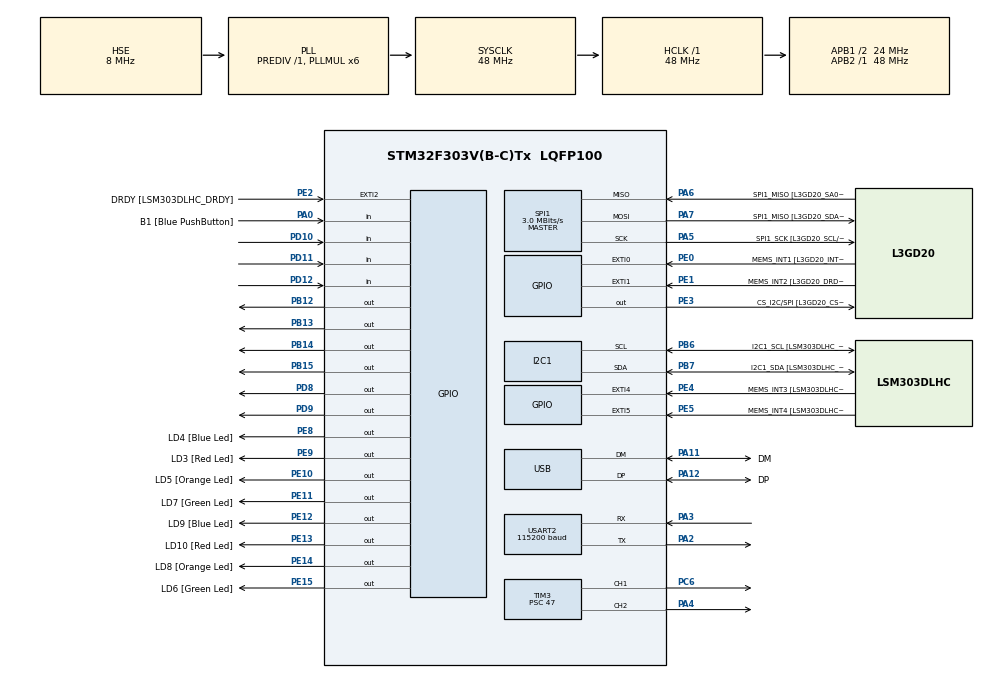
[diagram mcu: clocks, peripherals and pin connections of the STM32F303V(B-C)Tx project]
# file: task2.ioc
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I2C1.Timing=0x00201D2B
I2C1.Timing-I2C=0x2000090E
Mcu.Family=STM32F3
Mcu.Name=STM32F303V(B-C)Tx
Mcu.Package=LQFP100
NVIC.PriorityGroup=NVIC_PRIORITYGROUP_0
NVIC.TIM2_IRQn=true\:0\:0\:false\:false\:true\:true\:true\:true
NVIC.TIM3_IRQn=true\:0\:0\:false\:false\:true\:true\:true\:true
NVIC.USB_LP_CAN_RX0_IRQn=true\:0\:0\:false\:false\:true\:false\:true\:true
PA0.GPIO_Label=B1 [Blue PushButton]
PA0.Signal=GPIO_Input
PA11.GPIO_Label=DM
PA11.Mode=Device
PA11.Signal=USB_DM
PA12.GPIO_Label=DP
PA12.Mode=Device
PA12.Signal=USB_DP
PA13.GPIO_Label=SWDIO
PA13.Mode=Serial_Wire
PA13.Signal=SYS_JTMS-SWDIO
PA14.GPIO_Label=SWCLK
PA14.Mode=Serial_Wire
PA14.Signal=SYS_JTCK-SWCLK
PA2.Mode=Asynchronous
PA2.Signal=USART2_TX
PA3.Mode=Asynchronous
PA3.Signal=USART2_RX
PA4.Signal=S_TIM3_CH2
PA5.GPIO_Label=SPI1_SCK [L3GD20_SCL/SPC]
PA5.Mode=Full_Duplex_Master
PA5.Signal=SPI1_SCK
PA6.GPIO_Label=SPI1_MISO [L3GD20_SA0/SDO]
PA6.Mode=Full_Duplex_Master
PA6.Signal=SPI1_MISO
PA7.GPIO_Label=SPI1_MISO [L3GD20_SDA/SDI/SDO]
PA7.Mode=Full_Duplex_Master
PA7.Signal=SPI1_MOSI
PB12.Signal=GPIO_Output
PB13.Signal=GPIO_Output
PB14.Signal=GPIO_Output
PB15.Signal=GPIO_Output
PB3.GPIO_Label=SWO
PB3.Signal=SYS_JTDO-TRACESWO
PB6.GPIO_Label=I2C1_SCL [LSM303DLHC_SCL]
PB6.GPIO_Pu=GPIO_PULLUP
PB6.Mode=I2C
PB6.Signal=I2C1_SCL
PB7.GPIO_Label=I2C1_SDA [LSM303DLHC_SDA]
PB7.GPIO_Pu=GPIO_PULLUP
PB7.Mode=I2C
PB7.Signal=I2C1_SDA
PC14-OSC32_IN.GPIO_Label=OSC32_IN
PC14-OSC32_IN.Signal=RCC_OSC32_IN
PC15-OSC32_OUT.GPIO_Label=OSC32_OUT
PC15-OSC32_OUT.Signal=RCC_OSC32_OUT
PC6.Signal=S_TIM3_CH1
PD10.Signal=GPIO_Input
PD11.Signal=GPIO_Input
PD12.Signal=GPIO_Input
PD8.Signal=GPIO_Output
PD9.Signal=GPIO_Output
PE0.GPIO_Label=MEMS_INT1 [L3GD20_INT1]
PE0.GPIO_ModeDefaultEXTI=GPIO_MODE_EVT_RISING
PE0.Signal=GPXTI0
PE1.GPIO_Label=MEMS_INT2 [L3GD20_DRDY/INT2]
PE1.GPIO_ModeDefaultEXTI=GPIO_MODE_EVT_RISING
PE1.Signal=GPXTI1
PE10.GPIO_Label=LD5 [Orange Led]
PE10.Signal=GPIO_Output
PE11.GPIO_Label=LD7 [Green Led]
PE11.Signal=GPIO_Output
PE12.GPIO_Label=LD9 [Blue Led]
PE12.Signal=GPIO_Output
PE13.GPIO_Label=LD10 [Red Led]
PE13.Signal=GPIO_Output
PE14.GPIO_Label=LD8 [Orange Led]
PE14.Signal=GPIO_Output
PE15.GPIO_Label=LD6 [Green Led]
PE15.Signal=GPIO_Output
PE2.GPIO_Label=DRDY [LSM303DLHC_DRDY]
PE2.GPIO_ModeDefaultEXTI=GPIO_MODE_EVT_RISING
PE2.Signal=GPXTI2
PE3.GPIO_Label=CS_I2C/SPI [L3GD20_CS_I2C/SPI]
PE3.Signal=GPIO_Output
PE4.GPIO_Label=MEMS_INT3 [LSM303DLHC_INT1]
PE4.GPIO_ModeDefaultEXTI=GPIO_MODE_EVT_RISING
PE4.Signal=GPXTI4
PE5.GPIO_Label=MEMS_INT4 [LSM303DLHC_INT2]
PE5.GPIO_ModeDefaultEXTI=GPIO_MODE_EVT_RISING
PE5.Signal=GPXTI5
PE8.GPIO_Label=LD4 [Blue Led]
PE8.Signal=GPIO_Output
PE9.GPIO_Label=LD3 [Red Led]
PE9.Signal=GPIO_Output
PF0-OSC_IN.GPIO_Label=OSC_IN
PF0-OSC_IN.Mode=HSE-External-Clock-Source
PF0-OSC_IN.Signal=RCC_OSC_IN
PF1-OSC_OUT.GPIO_Label=OSC_OUT
PF1-OSC_OUT.Signal=RCC_OSC_OUT
ProjectManager.HeapSize=0x200
ProjectManager.StackSize=0x400
ProjectManager.TargetToolchain=CMake
RCC.AHBFreq_Value=48000000
RCC.APB1CLKDivider=RCC_HCLK_DIV2
RCC.APB1Freq_Value=24000000
RCC.APB1TimFreq_Value=48000000
RCC.APB2Freq_Value=48000000
RCC.APB2TimFreq_Value=48000000
RCC.CortexFreq_Value=48000000
RCC.HCLKFreq_Value=48000000
RCC.HSE_VALUE=8000000
RCC.HSI_VALUE=8000000
RCC.LSE_VALUE=32768
RCC.PLLMUL=RCC_PLL_MUL6
RCC.SYSCLKFreq_VALUE=48000000
RCC.SYSCLKSourceVirtual=RCC_SYSCLKSOURCE_PLLCLK
RCC.USBFreq_Value=48000000
SH.S_TIM3_CH1.0=TIM3_CH1,PWM Generation1 CH1
SH.S_TIM3_CH2.0=TIM3_CH2,PWM Generation2 CH2
SPI1.BaudRatePrescaler=SPI_BAUDRATEPRESCALER_16
SPI1.BaudRatePrescaler-Full_Duplex_Master=SPI_BAUDRATEPRESCALER_2
SPI1.CLKPhase=SPI_PHASE_2EDGE
SPI1.CLKPolarity=SPI_POLARITY_HIGH
SPI1.CalculateBaudRate=3.0 MBits/s
SPI1.CalculateBaudRate-Full_Duplex_Master=24.0 MBits/s
SPI1.DataSize=SPI_DATASIZE_8BIT
SPI1.Direction=SPI_DIRECTION_2LINES
SPI1.Mode=SPI_MODE_MASTER
SPI1.Mode-Full_Duplex_Master=SPI_MODE_MASTER
SPI1.VirtualType=VM_MASTER
TIM2.Period=4999
TIM2.Prescaler=47
TIM3.Channel-PWM\ Generation1\ CH1=TIM_CHANNEL_1
TIM3.Channel-PWM\ Generation2\ CH2=TIM_CHANNEL_2
TIM3.Period=999
TIM3.Prescaler=47
USART2.BaudRate=115200
USART2.VirtualMode-Asynchronous=VM_ASYNC
USB_DEVICE.CLASS_NAME_FS=CDC
USB_DEVICE.VirtualMode=Cdc
USB_DEVICE.VirtualModeFS=Cdc_FS
VP_TIM2_VS_ClockSourceINT.Mode=Internal
VP_TIM3_VS_ClockSourceINT.Mode=Internal
VP_USB_DEVICE_VS_USB_DEVICE_CDC_FS.Mode=CDC_FS
board=STM32F3DISCOVERY

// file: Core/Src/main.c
/* USER CODE BEGIN Header */
/**
  ******************************************************************************
  * @file           : main.c
  * @brief          : Lab 11 Task 2 - PID Controller for Self-Balancing Robot
  ******************************************************************************
  * TIM2 = 200Hz control loop ISR (complementary filter + PID)
  * TIM3 = PWM generation for motors (CH1=left on PC6, CH2=right on PA4)
  * Motor direction pins:
  *   Left  motor: PB12 (IN1), PB13 (IN2)
  *   Right motor: PB14 (IN1), PB15 (IN2)
  ******************************************************************************
  */
/* USER CODE END Header */
#include "main.h"
#include "usb_device.h"

/* USER CODE BEGIN Includes */
#include <math.h>
#include <stdio.h>
#include <string.h>
#include <stdarg.h>
/* USER CODE END Includes */

/* USER CODE BEGIN PD */

// Sampling Time
#define DT 0.005f

// PID Controller Structure
typedef struct {
    float kp;               // Proportional gain
    float ki;               // Integral gain
    float kd;               // Derivative gain
    float setpoint;         // Target angle (degrees)
    float integral;         // Accumulated integral error
    float prev_error;       // Previous error for derivative
    float output_max;       // Maximum output limit
    float output_min;       // Minimum output limit
    float integral_max;     // Anti-windup limit (positive)
    float integral_min;     // Anti-windup limit (negative)
} PIDController;

// Sensor Fusion Structure
typedef struct {
    float gyro_rate_dps;    // Gyro angular velocity (deg/s)
    float acc_angle_deg;    // Accelerometer-derived angle (deg)
    float tilt_angle;       // Fused tilt angle estimate (deg)
} AngleEstimate;

// PID Gains
#define KP  30.0f
#define KI  0.00f
#define KD 0.0f

// Setpoint
#define SETPOINT -2.1f

// Output Limits
#define PID_OUT_MAX  999.0f
#define PID_OUT_MIN -999.0f

// Integral Anti-Windup Limit
#define INTEGRAL_MAX  200.0f
#define INTEGRAL_MIN -200.0f

// Complementary Filter Weights
#define COMP_GYRO_WEIGHT  0.98f
#define COMP_ACC_WEIGHT   0.02f

// Sensor Configuration
#define GYRO_SCALE_DPS      0.00875f
#define GYRO_OUT_Y_L_REG    0x2A      // Y-axis output low byte
#define GYRO_OUT_Y_H_REG    0x2B      // Y-axis output high byte
#define ACC_ADDRESS_WRITE   0x32      // I2C write address
#define ACC_ADDRESS_READ    0x33      // I2C read address
#define ACC_OUT_X_PAGE      0x28      // Output X register
#define ACC_READ_AUTOINC    0x80      // Auto-increment bit for I2C

/* USER CODE END PD */

I2C_HandleTypeDef hi2c1;

SPI_HandleTypeDef hspi1;

TIM_HandleTypeDef htim2;
TIM_HandleTypeDef htim3;

UART_HandleTypeDef huart2;

/* USER CODE BEGIN PV */

// Angle Estimation Variables
volatile float shared_angle   = 0.0f;   // Bridge between ISR and main
volatile float shared_pid_out = 0.0f;   // PID output for display
volatile uint8_t display_flag = 0;

// Sensor measurements for display/debug
volatile float gyro_rate = 0.0f;
volatile float acc_angle = 0.0f;

/* USER CODE END PV */

void SystemClock_Config(void);
static void MX_GPIO_Init(void);
static void MX_I2C1_Init(void);
static void MX_SPI1_Init(void);
static void MX_TIM3_Init(void);
static void MX_TIM2_Init(void);
static void MX_USART2_UART_Init(void);

/* USER CODE BEGIN 0 */

uint8_t I3G_ReadReg(uint8_t reg_addr) {
    uint8_t tx_data = reg_addr | 0x80;  // Bit 7 = 1 for READ
    uint8_t rx_data;

    HAL_GPIO_WritePin(GPIOE, GPIO_PIN_3, GPIO_PIN_RESET);
    HAL_SPI_Transmit(&hspi1, &tx_data, 1, HAL_MAX_DELAY);
    HAL_SPI_Receive(&hspi1, &rx_data, 1, HAL_MAX_DELAY);
    HAL_GPIO_WritePin(GPIOE, GPIO_PIN_3, GPIO_PIN_SET);

    return rx_data;
}

// Helper Functions for Sensor Data Acquisition

// Read gyroscope Y-axis
float Read_Gyro_Y(void) {
    uint8_t y_low  = I3G_ReadReg(GYRO_OUT_Y_L_REG);
    uint8_t y_high = I3G_ReadReg(GYRO_OUT_Y_H_REG);

    int16_t raw_gyro_y = (int16_t)((y_high << 8) | y_low);
    return (float)raw_gyro_y * GYRO_SCALE_DPS;  // Convert to deg/s
}

// Read accelerometer pitch angle
float Read_Acc_Pitch(void) {
    uint8_t acc_reg = ACC_OUT_X_PAGE | ACC_READ_AUTOINC;
    uint8_t acc_buf[6] = {0};

    HAL_I2C_Master_Transmit(&hi2c1, ACC_ADDRESS_WRITE, &acc_reg, 1, 10);
    HAL_I2C_Master_Receive(&hi2c1, ACC_ADDRESS_READ, acc_buf, 6, 10);

    int16_t acc_raw_x = (int16_t)((acc_buf[1] << 8) | acc_buf[0]);
    int16_t acc_raw_z = (int16_t)((acc_buf[5] << 8) | acc_buf[4]);

    // Pitch angle
    return atan2f((float)acc_raw_x, (float)acc_raw_z) * (180.0f / 3.14159f);
}

// Initialize PID controller with default
void PID_Init(PIDController *pid) {
    pid->kp = KP;
    pid->ki = KI;
    pid->kd = KD;
    pid->setpoint = SETPOINT;
    pid->integral = 0.0f;
    pid->prev_error = 0.0f;
    pid->output_max = PID_OUT_MAX;
    pid->output_min = PID_OUT_MIN;
    pid->integral_max = INTEGRAL_MAX;
    pid->integral_min = INTEGRAL_MIN;
}

// Compute PID output given measured error
float PID_Update(PIDController *pid, float error) {
    // P
    float p_term = pid->kp * error;

    // I
    pid->integral += pid->ki * error * DT;
    if (pid->integral > pid->integral_max) pid->integral = pid->integral_max;
    if (pid->integral < pid->integral_min) pid->integral = pid->integral_min;

    // D
    float derivative = (error - pid->prev_error) / DT;
    float d_term = pid->kd * derivative;
    pid->prev_error = error;

    // Total PID
    float output = p_term + pid->integral + d_term;

    // final output
    if (output > pid->output_max) output = pid->output_max;
    if (output < pid->output_min) output = pid->output_min;

    return output;
}

// Complementary Filter for Angle Estimation
float Complementary_Filter(float prev_angle, float gyro_rate_dps, float acc_angle_deg) {
    float gyro_contribution = (prev_angle + gyro_rate_dps * DT) * COMP_GYRO_WEIGHT;
    float acc_contribution = acc_angle_deg * COMP_ACC_WEIGHT;
    return gyro_contribution + acc_contribution;
}

// Gyroscope SPI Register Access
void I3G_WriteReg(uint8_t reg_addr, uint8_t data) {
    uint8_t tx_buffer[2];
    tx_buffer[0] = reg_addr & 0x7F;
    tx_buffer[1] = data;

    HAL_GPIO_WritePin(GPIOE, GPIO_PIN_3, GPIO_PIN_RESET); // CS LOW
    HAL_SPI_Transmit(&hspi1, tx_buffer, 2, HAL_MAX_DELAY);
    HAL_GPIO_WritePin(GPIOE, GPIO_PIN_3, GPIO_PIN_SET);   // CS HIGH
}

/*
 *  Motor Control Functions
 *
 *
 *  Left Motor:
 *    PWM  -> TIM3_CH1 (PC6)   => Shield pin D9
 *    IN1  -> PB12              => Shield pin D6
 *    IN2  -> PB13              => Shield pin D7
 *
 *  Right Motor:
 *    PWM  -> TIM3_CH2 (PA4)   => Shield pin D10
 *    IN1  -> PB14              => Shield pin D8
 *    IN2  -> PB15              => Shield pin D12
 *
 *  Direction logic (L298N style):
 *    Forward  (CW):  IN1=HIGH, IN2=LOW
 *    Backward (CCW): IN1=LOW,  IN2=HIGH
 *    Brake/Stop:     IN1=LOW,  IN2=LOW
 */

void Motor_Left_Forward(uint16_t speed) {
    HAL_GPIO_WritePin(GPIOB, GPIO_PIN_12, GPIO_PIN_RESET);    // IN1 = HIGH
    HAL_GPIO_WritePin(GPIOB, GPIO_PIN_13, GPIO_PIN_SET);  // IN2 = LOW
    __HAL_TIM_SET_COMPARE(&htim3, TIM_CHANNEL_1, speed);
}

void Motor_Left_Backward(uint16_t speed) {
    HAL_GPIO_WritePin(GPIOB, GPIO_PIN_12, GPIO_PIN_SET);  // IN1 = LOW
    HAL_GPIO_WritePin(GPIOB, GPIO_PIN_13, GPIO_PIN_RESET);    // IN2 = HIGH
    __HAL_TIM_SET_COMPARE(&htim3, TIM_CHANNEL_1, speed);
}

// void Motor_Left_Forward(uint16_t speed) {
//     HAL_GPIO_WritePin(GPIOB, GPIO_PIN_12, GPIO_PIN_SET);    // IN1 = HIGH
//     HAL_GPIO_WritePin(GPIOB, GPIO_PIN_13, GPIO_PIN_RESET);  // IN2 = LOW
//     __HAL_TIM_SET_COMPARE(&htim3, TIM_CHANNEL_1, speed);
// }

// void Motor_Left_Backward(uint16_t speed) {
//     HAL_GPIO_WritePin(GPIOB, GPIO_PIN_12, GPIO_PIN_RESET);  // IN1 = LOW
//     HAL_GPIO_WritePin(GPIOB, GPIO_PIN_13, GPIO_PIN_SET);    // IN2 = HIGH
//     __HAL_TIM_SET_COMPARE(&htim3, TIM_CHANNEL_1, speed);
// }

void Motor_Left_Stop(void) {
    HAL_GPIO_WritePin(GPIOB, GPIO_PIN_12, GPIO_PIN_RESET);
    HAL_GPIO_WritePin(GPIOB, GPIO_PIN_13, GPIO_PIN_RESET);
    __HAL_TIM_SET_COMPARE(&htim3, TIM_CHANNEL_1, 0);
}

// void Motor_Right_Forward(uint16_t speed) {
//     // SWAP THESE: Original was SET then RESET
//     HAL_GPIO_WritePin(GPIOB, GPIO_PIN_14, GPIO_PIN_RESET); // IN1 = LOW
//     HAL_GPIO_WritePin(GPIOB, GPIO_PIN_15, GPIO_PIN_SET);   // IN2 = HIGH
//     __HAL_TIM_SET_COMPARE(&htim3, TIM_CHANNEL_2, speed);
// }

// void Motor_Right_Backward(uint16_t speed) {
//     // SWAP THESE: Original was RESET then SET
//     HAL_GPIO_WritePin(GPIOB, GPIO_PIN_14, GPIO_PIN_SET);   // IN1 = HIGH
//     HAL_GPIO_WritePin(GPIOB, GPIO_PIN_15, GPIO_PIN_RESET); // IN2 = LOW
//     __HAL_TIM_SET_COMPARE(&htim3, TIM_CHANNEL_2, speed);
// }

void Motor_Right_Forward(uint16_t speed) {
    HAL_GPIO_WritePin(GPIOB, GPIO_PIN_14, GPIO_PIN_SET);    // IN1 = HIGH
    HAL_GPIO_WritePin(GPIOB, GPIO_PIN_15, GPIO_PIN_RESET);  // IN2 = LOW
    __HAL_TIM_SET_COMPARE(&htim3, TIM_CHANNEL_2, speed);
}

void Motor_Right_Backward(uint16_t speed) {
    HAL_GPIO_WritePin(GPIOB, GPIO_PIN_14, GPIO_PIN_RESET);  // IN1 = LOW
    HAL_GPIO_WritePin(GPIOB, GPIO_PIN_15, GPIO_PIN_SET);    // IN2 = HIGH
    __HAL_TIM_SET_COMPARE(&htim3, TIM_CHANNEL_2, speed);
}

void Motor_Right_Stop(void) {
    HAL_GPIO_WritePin(GPIOB, GPIO_PIN_14, GPIO_PIN_RESET);
    HAL_GPIO_WritePin(GPIOB, GPIO_PIN_15, GPIO_PIN_RESET);
    __HAL_TIM_SET_COMPARE(&htim3, TIM_CHANNEL_2, 0);
}

void Motors_Drive(float pid_output) {
    uint16_t pwm_magnitude = (uint16_t)fabsf(pid_output);

    // Clamp to maximum PWM value
    if (pwm_magnitude > (uint16_t)PID_OUT_MAX) {
        pwm_magnitude = (uint16_t)PID_OUT_MAX;
    }

    if (pid_output > 0.0f) {
        // Positive output: drive forward
        Motor_Left_Forward(pwm_magnitude);
        Motor_Right_Forward(pwm_magnitude);
    }
    else if (pid_output < 0.0f) {
        // Negative output: drive backward
        Motor_Left_Backward(pwm_magnitude);
        Motor_Right_Backward(pwm_magnitude);
    }
    else {
        // Zero output: stop motors
        Motor_Left_Stop();
        Motor_Right_Stop();
    }
}

void cout(const char *fmt, ...) {
    char buffer[128];
    va_list args;
    va_start(args, fmt);
    int l = vsnprintf(buffer, sizeof(buffer), fmt, args);
    va_end(args);
    if (l > 0) {
        HAL_UART_Transmit(&huart2, (uint8_t*)buffer, l, HAL_MAX_DELAY);
    }
}

/* USER CODE END 0 */

int main(void)
{
  /* USER CODE BEGIN 1 */
  PIDController pid_controller;
  /* USER CODE END 1 */

  /* MCU Configuration*/
  HAL_Init();
  SystemClock_Config();

  /* Initialize all configured peripherals */
  MX_GPIO_Init();
  MX_I2C1_Init();
  MX_SPI1_Init();
  MX_TIM3_Init();
  MX_USB_DEVICE_Init();
  MX_TIM2_Init();
  MX_USART2_UART_Init();

  /* USER CODE BEGIN 2 */
  // 1. Initialize Sensors
  I3G_WriteReg(0x20, 0x4F); // Gyro on
  uint8_t acc_init[2] = {0x20, 0x57};
  HAL_I2C_Master_Transmit(&hi2c1, 0x32, acc_init, 2, 50);

  // 2. Start PWM
  HAL_TIM_PWM_Start(&htim3, TIM_CHANNEL_1);
  HAL_TIM_PWM_Start(&htim3, TIM_CHANNEL_2);

  // 3. Start Timer Interrupt
  HAL_TIM_Base_Start_IT(&htim2);
  /* USER CODE END 2 */

  /* Infinite loop */
  while (1)
  {
    if (display_flag == 1)
    {
      display_flag = 0;

      // Calculate float parts for printing
      int angle_i = (int)shared_angle;
      int angle_f = (int)(fabsf(shared_angle - angle_i) * 100);
      int acc_i = (int)acc_angle;
      int acc_f = (int)(fabsf(acc_angle - acc_i) * 100);
      int gyro_i = (int)gyro_rate;
      int gyro_f = (int)(fabsf(gyro_rate - gyro_i) * 100);
      int pid_i = (int)shared_pid_out;
      int pid_f = (int)(fabsf(shared_pid_out - pid_i) * 100);

      cout("%d.%02d,%d.%02d,%d.%02d,%d.%02d\r\n",
           angle_i, angle_f, acc_i, acc_f, gyro_i, gyro_f, pid_i, pid_f);
    }
  }
} // End of main

void SystemClock_Config(void)
{
  RCC_OscInitTypeDef RCC_OscInitStruct = {0};
  RCC_ClkInitTypeDef RCC_ClkInitStruct = {0};
  RCC_PeriphCLKInitTypeDef PeriphClkInit = {0};

  /** Initializes the RCC Oscillators according to the specified parameters
  * in the RCC_OscInitTypeDef structure.
  */
  RCC_OscInitStruct.OscillatorType = RCC_OSCILLATORTYPE_HSI|RCC_OSCILLATORTYPE_HSE;
  RCC_OscInitStruct.HSEState = RCC_HSE_BYPASS;
  RCC_OscInitStruct.HSEPredivValue = RCC_HSE_PREDIV_DIV1;
  RCC_OscInitStruct.HSIState = RCC_HSI_ON;
  RCC_OscInitStruct.HSICalibrationValue = RCC_HSICALIBRATION_DEFAULT;
  RCC_OscInitStruct.PLL.PLLState = RCC_PLL_ON;
  RCC_OscInitStruct.PLL.PLLSource = RCC_PLLSOURCE_HSE;
  RCC_OscInitStruct.PLL.PLLMUL = RCC_PLL_MUL6;
  if (HAL_RCC_OscConfig(&RCC_OscInitStruct) != HAL_OK)
  {
    Error_Handler();
  }

  /** Initializes the CPU, AHB and APB buses clocks
  */
  RCC_ClkInitStruct.ClockType = RCC_CLOCKTYPE_HCLK|RCC_CLOCKTYPE_SYSCLK
                              |RCC_CLOCKTYPE_PCLK1|RCC_CLOCKTYPE_PCLK2;
  RCC_ClkInitStruct.SYSCLKSource = RCC_SYSCLKSOURCE_PLLCLK;
  RCC_ClkInitStruct.AHBCLKDivider = RCC_SYSCLK_DIV1;
  RCC_ClkInitStruct.APB1CLKDivider = RCC_HCLK_DIV2;
  RCC_ClkInitStruct.APB2CLKDivider = RCC_HCLK_DIV1;

  if (HAL_RCC_ClockConfig(&RCC_ClkInitStruct, FLASH_LATENCY_1) != HAL_OK)
  {
    Error_Handler();
  }
  PeriphClkInit.PeriphClockSelection = RCC_PERIPHCLK_USB|RCC_PERIPHCLK_USART2
                              |RCC_PERIPHCLK_I2C1;
  PeriphClkInit.Usart2ClockSelection = RCC_USART2CLKSOURCE_PCLK1;
  PeriphClkInit.I2c1ClockSelection = RCC_I2C1CLKSOURCE_HSI;
  PeriphClkInit.USBClockSelection = RCC_USBCLKSOURCE_PLL;
  if (HAL_RCCEx_PeriphCLKConfig(&PeriphClkInit) != HAL_OK)
  {
    Error_Handler();
  }
}

static void MX_I2C1_Init(void)
{

  hi2c1.Instance = I2C1;
  hi2c1.Init.Timing = 0x00201D2B;
  hi2c1.Init.OwnAddress1 = 0;
  hi2c1.Init.AddressingMode = I2C_ADDRESSINGMODE_7BIT;
  hi2c1.Init.DualAddressMode = I2C_DUALADDRESS_DISABLE;
  hi2c1.Init.OwnAddress2 = 0;
  hi2c1.Init.OwnAddress2Masks = I2C_OA2_NOMASK;
  hi2c1.Init.GeneralCallMode = I2C_GENERALCALL_DISABLE;
  hi2c1.Init.NoStretchMode = I2C_NOSTRETCH_DISABLE;
  if (HAL_I2C_Init(&hi2c1) != HAL_OK)
  {
    Error_Handler();
  }

  /** Configure Analogue filter
  */
  if (HAL_I2CEx_ConfigAnalogFilter(&hi2c1, I2C_ANALOGFILTER_ENABLE) != HAL_OK)
  {
    Error_Handler();
  }

  /** Configure Digital filter
  */
  if (HAL_I2CEx_ConfigDigitalFilter(&hi2c1, 0) != HAL_OK)
  {
    Error_Handler();
  }

}

static void MX_SPI1_Init(void)
{

  /* SPI1 parameter configuration*/
  hspi1.Instance = SPI1;
  hspi1.Init.Mode = SPI_MODE_MASTER;
  hspi1.Init.Direction = SPI_DIRECTION_2LINES;
  hspi1.Init.DataSize = SPI_DATASIZE_8BIT;
  hspi1.Init.CLKPolarity = SPI_POLARITY_HIGH;
  hspi1.Init.CLKPhase = SPI_PHASE_2EDGE;
  hspi1.Init.NSS = SPI_NSS_SOFT;
  hspi1.Init.BaudRatePrescaler = SPI_BAUDRATEPRESCALER_16;
  hspi1.Init.FirstBit = SPI_FIRSTBIT_MSB;
  hspi1.Init.TIMode = SPI_TIMODE_DISABLE;
  hspi1.Init.CRCCalculation = SPI_CRCCALCULATION_DISABLE;
  hspi1.Init.CRCPolynomial = 7;
  hspi1.Init.CRCLength = SPI_CRC_LENGTH_DATASIZE;
  hspi1.Init.NSSPMode = SPI_NSS_PULSE_DISABLE;
  if (HAL_SPI_Init(&hspi1) != HAL_OK)
  {
    Error_Handler();
  }

}

static void MX_TIM2_Init(void)
{

  TIM_ClockConfigTypeDef sClockSourceConfig = {0};
  TIM_MasterConfigTypeDef sMasterConfig = {0};

  htim2.Instance = TIM2;
  htim2.Init.Prescaler = 47;
  htim2.Init.CounterMode = TIM_COUNTERMODE_UP;
  htim2.Init.Period = 4999;
  htim2.Init.ClockDivision = TIM_CLOCKDIVISION_DIV1;
  htim2.Init.AutoReloadPreload = TIM_AUTORELOAD_PRELOAD_DISABLE;
  if (HAL_TIM_Base_Init(&htim2) != HAL_OK)
  {
    Error_Handler();
  }
  sClockSourceConfig.ClockSource = TIM_CLOCKSOURCE_INTERNAL;
  if (HAL_TIM_ConfigClockSource(&htim2, &sClockSourceConfig) != HAL_OK)
  {
    Error_Handler();
  }
  sMasterConfig.MasterOutputTrigger = TIM_TRGO_RESET;
  sMasterConfig.MasterSlaveMode = TIM_MASTERSLAVEMODE_DISABLE;
  if (HAL_TIMEx_MasterConfigSynchronization(&htim2, &sMasterConfig) != HAL_OK)
  {
    Error_Handler();
  }

}

static void MX_TIM3_Init(void)
{

  TIM_ClockConfigTypeDef sClockSourceConfig = {0};
  TIM_MasterConfigTypeDef sMasterConfig = {0};
  TIM_OC_InitTypeDef sConfigOC = {0};

  htim3.Instance = TIM3;
  htim3.Init.Prescaler = 47;
  htim3.Init.CounterMode = TIM_COUNTERMODE_UP;
  htim3.Init.Period = 999;
  htim3.Init.ClockDivision = TIM_CLOCKDIVISION_DIV1;
  htim3.Init.AutoReloadPreload = TIM_AUTORELOAD_PRELOAD_DISABLE;
  if (HAL_TIM_Base_Init(&htim3) != HAL_OK)
  {
    Error_Handler();
  }
  sClockSourceConfig.ClockSource = TIM_CLOCKSOURCE_INTERNAL;
  if (HAL_TIM_ConfigClockSource(&htim3, &sClockSourceConfig) != HAL_OK)
  {
    Error_Handler();
  }
  if (HAL_TIM_PWM_Init(&htim3) != HAL_OK)
  {
    Error_Handler();
  }
  sMasterConfig.MasterOutputTrigger = TIM_TRGO_RESET;
  sMasterConfig.MasterSlaveMode = TIM_MASTERSLAVEMODE_DISABLE;
  if (HAL_TIMEx_MasterConfigSynchronization(&htim3, &sMasterConfig) != HAL_OK)
  {
    Error_Handler();
  }
  sConfigOC.OCMode = TIM_OCMODE_PWM1;
  sConfigOC.Pulse = 0;
  sConfigOC.OCPolarity = TIM_OCPOLARITY_HIGH;
  sConfigOC.OCFastMode = TIM_OCFAST_DISABLE;
  if (HAL_TIM_PWM_ConfigChannel(&htim3, &sConfigOC, TIM_CHANNEL_1) != HAL_OK)
  {
    Error_Handler();
  }
  if (HAL_TIM_PWM_ConfigChannel(&htim3, &sConfigOC, TIM_CHANNEL_2) != HAL_OK)
  {
    Error_Handler();
  }
  HAL_TIM_MspPostInit(&htim3);

}

static void MX_USART2_UART_Init(void)
{

  huart2.Instance = USART2;
  huart2.Init.BaudRate = 115200;
  huart2.Init.WordLength = UART_WORDLENGTH_8B;
  huart2.Init.StopBits = UART_STOPBITS_1;
  huart2.Init.Parity = UART_PARITY_NONE;
  huart2.Init.Mode = UART_MODE_TX_RX;
  huart2.Init.HwFlowCtl = UART_HWCONTROL_NONE;
  huart2.Init.OverSampling = UART_OVERSAMPLING_16;
  huart2.Init.OneBitSampling = UART_ONE_BIT_SAMPLE_DISABLE;
  huart2.AdvancedInit.AdvFeatureInit = UART_ADVFEATURE_NO_INIT;
  if (HAL_UART_Init(&huart2) != HAL_OK)
  {
    Error_Handler();
  }

}

static void MX_GPIO_Init(void)
{
  GPIO_InitTypeDef GPIO_InitStruct = {0};

  /* GPIO Ports Clock Enable */
  __HAL_RCC_GPIOE_CLK_ENABLE();
  __HAL_RCC_GPIOC_CLK_ENABLE();
  __HAL_RCC_GPIOF_CLK_ENABLE();
  __HAL_RCC_GPIOA_CLK_ENABLE();
  __HAL_RCC_GPIOB_CLK_ENABLE();
  __HAL_RCC_GPIOD_CLK_ENABLE();

  /*Configure GPIO pin Output Level */
  HAL_GPIO_WritePin(GPIOE, CS_I2C_SPI_Pin|LD4_Pin|LD3_Pin|LD5_Pin
                          |LD7_Pin|LD9_Pin|LD10_Pin|LD8_Pin
                          |LD6_Pin, GPIO_PIN_RESET);

  /*Configure GPIO pin Output Level */
  HAL_GPIO_WritePin(GPIOB, GPIO_PIN_12|GPIO_PIN_13|GPIO_PIN_14|GPIO_PIN_15, GPIO_PIN_RESET);

  /*Configure GPIO pin Output Level */
  HAL_GPIO_WritePin(GPIOD, GPIO_PIN_8|GPIO_PIN_9, GPIO_PIN_RESET);

  /*Configure GPIO pins : DRDY_Pin MEMS_INT3_Pin MEMS_INT4_Pin MEMS_INT1_Pin
                           MEMS_INT2_Pin */
  GPIO_InitStruct.Pin = DRDY_Pin|MEMS_INT3_Pin|MEMS_INT4_Pin|MEMS_INT1_Pin
                          |MEMS_INT2_Pin;
  GPIO_InitStruct.Mode = GPIO_MODE_EVT_RISING;
  GPIO_InitStruct.Pull = GPIO_NOPULL;
  HAL_GPIO_Init(GPIOE, &GPIO_InitStruct);

  /*Configure GPIO pins : CS_I2C_SPI_Pin LD4_Pin LD3_Pin LD5_Pin
                           LD7_Pin LD9_Pin LD10_Pin LD8_Pin
                           LD6_Pin */
  GPIO_InitStruct.Pin = CS_I2C_SPI_Pin|LD4_Pin|LD3_Pin|LD5_Pin
                          |LD7_Pin|LD9_Pin|LD10_Pin|LD8_Pin
                          |LD6_Pin;
  GPIO_InitStruct.Mode = GPIO_MODE_OUTPUT_PP;
  GPIO_InitStruct.Pull = GPIO_NOPULL;
  GPIO_InitStruct.Speed = GPIO_SPEED_FREQ_LOW;
  HAL_GPIO_Init(GPIOE, &GPIO_InitStruct);

  /*Configure GPIO pin : B1_Pin */
  GPIO_InitStruct.Pin = B1_Pin;
  GPIO_InitStruct.Mode = GPIO_MODE_INPUT;
  GPIO_InitStruct.Pull = GPIO_NOPULL;
  HAL_GPIO_Init(B1_GPIO_Port, &GPIO_InitStruct);

  /*Configure GPIO pins : PB12 PB13 PB14 PB15 */
  GPIO_InitStruct.Pin = GPIO_PIN_12|GPIO_PIN_13|GPIO_PIN_14|GPIO_PIN_15;
  GPIO_InitStruct.Mode = GPIO_MODE_OUTPUT_PP;
  GPIO_InitStruct.Pull = GPIO_NOPULL;
  GPIO_InitStruct.Speed = GPIO_SPEED_FREQ_LOW;
  HAL_GPIO_Init(GPIOB, &GPIO_InitStruct);

  /*Configure GPIO pins : PD8 PD9 */
  GPIO_InitStruct.Pin = GPIO_PIN_8|GPIO_PIN_9;
  GPIO_InitStruct.Mode = GPIO_MODE_OUTPUT_PP;
  GPIO_InitStruct.Pull = GPIO_NOPULL;
  GPIO_InitStruct.Speed = GPIO_SPEED_FREQ_LOW;
  HAL_GPIO_Init(GPIOD, &GPIO_InitStruct);

  /*Configure GPIO pins : PD10 PD11 PD12 */
  GPIO_InitStruct.Pin = GPIO_PIN_10|GPIO_PIN_11|GPIO_PIN_12;
  GPIO_InitStruct.Mode = GPIO_MODE_INPUT;
  GPIO_InitStruct.Pull = GPIO_NOPULL;
  HAL_GPIO_Init(GPIOD, &GPIO_InitStruct);

}

/* USER CODE BEGIN 4 */

/* ============================================================
 *  TIM2 ISR Callback — runs at 200 Hz (every 5ms)
 *
 *  This is the HEART of the system. It does:
 *   1) Read gyroscope (SPI)
 *   2) Read accelerometer (I2C)
 *   3) Complementary filter -> tilt angle
 *   4) PID controller -> motor command
 *   5) Drive motors
 *   6) Throttle UART display to ~10 Hz
 * ============================================================ */
void HAL_TIM_PeriodElapsedCallback(TIM_HandleTypeDef *htim) {
    if (htim->Instance != TIM2) return;

    static PIDController pid_ctrl = {0};
    static float tilt_angle = 0.0f;
    static uint8_t initialized = 0;
    static int uart_counter = 0;

    if (!initialized) {
        PID_Init(&pid_ctrl);
        initialized = 1;
    }

    // Read sensor data using helper functions
    float gyro_rate_dps = Read_Gyro_Y();
    float acc_angle_deg = Read_Acc_Pitch();

    // Apply complementary filter for angle estimation
    tilt_angle = Complementary_Filter(tilt_angle, gyro_rate_dps, acc_angle_deg);

    // Compute PID control output
    float error = pid_ctrl.setpoint - tilt_angle;
    float pid_output = PID_Update(&pid_ctrl, error);

    // Drive motors based on PID output
    Motors_Drive(pid_output);

    // Update shared variables for main loop display
    shared_angle = tilt_angle;
    shared_pid_out = pid_output;
    gyro_rate = gyro_rate_dps;
    acc_angle = acc_angle_deg;

    // Throttle serial display to 10Hz
    if (++uart_counter >= 20) {
        display_flag = 1;
        uart_counter = 0;
    }
}

/* USER CODE END 4 */

void Error_Handler(void)
{
  __disable_irq();
  while (1)
  {
  }
}
